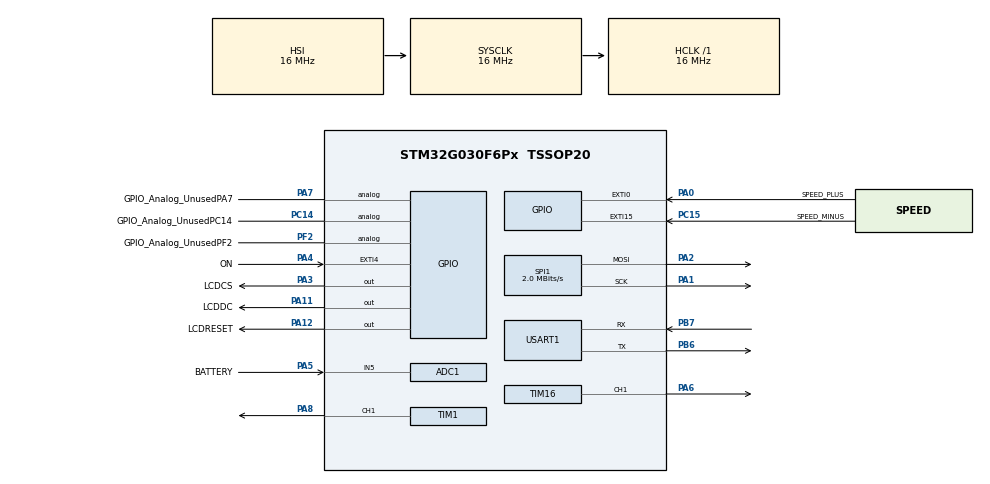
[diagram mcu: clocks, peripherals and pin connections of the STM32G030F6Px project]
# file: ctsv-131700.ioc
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ADC1.Channel-0\#ChannelRegularConversion=ADC_CHANNEL_5
ADC1.NbrOfConversionFlag=1
ADC1.Rank-0\#ChannelRegularConversion=1
ADC1.SamplingTime-0\#ChannelRegularConversion=ADC_SAMPLINGTIME_COMMON_1
ADC1.master=1
Mcu.Family=STM32G0
Mcu.Name=STM32G030F6Px
Mcu.Package=TSSOP20
NVIC.EXTI0_1_IRQn=true\:0\:0\:false\:false\:true\:true\:true
NVIC.EXTI4_15_IRQn=true\:0\:0\:false\:false\:true\:true\:true
NVIC.TIM14_IRQn=true\:0\:0\:false\:false\:true\:true\:true
NVIC.TIM17_IRQn=true\:0\:0\:false\:false\:true\:true\:true
PA0.GPIO_Label=SPEED_PLUS
PA0.GPIO_ModeDefaultEXTI=GPIO_MODE_IT_RISING_FALLING
PA0.GPIO_PuPd=GPIO_PULLUP
PA0.Signal=GPXTI0
PA1.Mode=TX_Only_Simplex_Unidirect_Master
PA1.Signal=SPI1_SCK
PA11\ [PA9].GPIO_Label=LCDDC
PA11\ [PA9].Signal=GPIO_Output
PA12\ [PA10].GPIO_Label=LCDRESET
PA12\ [PA10].Signal=GPIO_Output
PA13.Mode=Serial_Wire
PA13.Signal=SYS_SWDIO
PA14-BOOT0.Mode=Serial_Wire
PA14-BOOT0.Signal=SYS_SWCLK
PA2.Mode=TX_Only_Simplex_Unidirect_Master
PA2.Signal=SPI1_MOSI
PA3.GPIO_Label=LCDCS
PA3.Signal=GPIO_Output
PA4.GPIO_Label=ON
PA4.GPIO_ModeDefaultEXTI=GPIO_MODE_IT_RISING_FALLING
PA4.GPIO_PuPd=GPIO_PULLUP
PA4.Signal=GPXTI4
PA5.GPIO_Label=BATTERY
PA5.Mode=IN5
PA5.Signal=ADC1_IN5
PA6.Signal=S_TIM16_CH1
PA7.GPIO_Label=GPIO_Analog_UnusedPA7
PA7.Signal=GPIO_Analog
PA8.Signal=S_TIM1_CH1
PB6.Mode=Asynchronous
PB6.Signal=USART1_TX
PB7.Mode=Asynchronous
PB7.Signal=USART1_RX
PC14-OSC32_IN\ (PC14).GPIO_Label=GPIO_Analog_UnusedPC14
PC14-OSC32_IN\ (PC14).Signal=GPIO_Analog
PC15-OSC32_OUT\ (PC15).GPIO_Label=SPEED_MINUS
PC15-OSC32_OUT\ (PC15).GPIO_ModeDefaultEXTI=GPIO_MODE_IT_RISING_FALLING
PC15-OSC32_OUT\ (PC15).GPIO_PuPd=GPIO_PULLUP
PC15-OSC32_OUT\ (PC15).Signal=GPXTI15
PF2\ -\ NRST.GPIO_Label=GPIO_Analog_UnusedPF2
PF2\ -\ NRST.Signal=GPIO_Analog
ProjectManager.HeapSize=0x200
ProjectManager.StackSize=0x400
ProjectManager.TargetToolchain=STM32CubeIDE
RCC.ADCFreq_Value=16000000
RCC.AHBFreq_Value=16000000
RCC.CortexFreq_Value=16000000
RCC.DATA_CACHE_ENABLE=0
RCC.EXTERNAL_CLOCK_VALUE=12288000
RCC.HCLKFreq_Value=16000000
RCC.HSE_VALUE=8000000
RCC.HSI_VALUE=16000000
RCC.LSE_VALUE=32768
RCC.SYSCLKFreq_VALUE=16000000
RCC.VCOOutputFreq_Value=128000000
RCC.VDD_VALUE=2.7
RTC.Hours=0
RTC.Minutes=0
RTC.Seconds=0
SH.S_TIM16_CH1.0=TIM16_CH1,PWM Generation1 CH1
SH.S_TIM1_CH1.0=TIM1_CH1,PWM Generation1 CH1
SPI1.BaudRatePrescaler=SPI_BAUDRATEPRESCALER_8
SPI1.CalculateBaudRate=2.0 MBits/s
SPI1.Direction=SPI_DIRECTION_2LINES
SPI1.Mode=SPI_MODE_MASTER
SPI1.VirtualType=VM_MASTER
TIM1.Channel-PWM\ Generation1\ CH1=TIM_CHANNEL_1
TIM1.CounterMode=TIM_COUNTERMODE_UP
TIM1.Period=1000
TIM1.Prescaler=32
TIM1.Pulse-PWM\ Generation1\ CH1=5000
TIM14.Period=1000
TIM14.Prescaler=16000
TIM16.Channel=TIM_CHANNEL_1
TIM16.Period=1000
TIM16.Prescaler=16
TIM16.Pulse=500
TIM17.Period=2000
TIM17.Prescaler=80
USART1.VirtualMode-Asynchronous=VM_ASYNC
VP_ADC1_Vref_Input.Mode=IN-Vrefint
VP_RTC_VS_RTC_Activate.Mode=RTC_Enabled
VP_RTC_VS_RTC_Calendar.Mode=RTC_Calendar
VP_TIM14_VS_ClockSourceINT.Mode=Enable_Timer
VP_TIM16_VS_ClockSourceINT.Mode=Enable_Timer
VP_TIM17_VS_ClockSourceINT.Mode=Enable_Timer
board=custom

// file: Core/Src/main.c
/* USER CODE BEGIN Header */
/**
  ******************************************************************************
  * @file           : main.c
  * @brief          : Main program body
  ******************************************************************************
  * @attention
  *
  * <h2><center>&copy; Copyright (c) 2020 STMicroelectronics.
  * All rights reserved.</center></h2>
  *
  * This software component is licensed by ST under BSD 3-Clause license,
  * the "License"; You may not use this file except in compliance with the
  * License. You may obtain a copy of the License at:
  *                        opensource.org/licenses/BSD-3-Clause
  *
  ******************************************************************************
  */
/* USER CODE END Header */

#include "main.h"

/* USER CODE BEGIN Includes */
#include <stdio.h>
#include <stdint.h>
#include <stdbool.h>
/* USER CODE END Includes */

/* USER CODE BEGIN PD */
#define DEBOUNCE_TIME 10
#define REGISTER_WR_TIME 50
/* USER CODE END PD */

ADC_HandleTypeDef hadc1;

RTC_HandleTypeDef hrtc;

SPI_HandleTypeDef hspi1;

TIM_HandleTypeDef htim1;
TIM_HandleTypeDef htim14;
TIM_HandleTypeDef htim16;
TIM_HandleTypeDef htim17;

UART_HandleTypeDef huart1;

void SystemClock_Config(void);
static void MX_GPIO_Init(void);
static void MX_SPI1_Init(void);
static void MX_TIM16_Init(void);
static void MX_ADC1_Init(void);
static void MX_TIM1_Init(void);
static void MX_USART1_UART_Init(void);
static void MX_RTC_Init(void);
static void MX_TIM17_Init(void);
static void MX_TIM14_Init(void);
/* USER CODE BEGIN PFP */
void print_set_speed(void);
void set_duty_cyc(void);
void enter_stop_mode(void);
void run_status_deinit(void);
/* USER CODE END PFP */

/* USER CODE BEGIN 0 */
const uint16_t default_duty = 450;
uint16_t    current_duty = 0;

uint8_t     time_set = 30;
uint8_t     time_tmp = 0;
uint8_t     len = 0;

_Bool       mcu_stop_flag = false;
_Bool		spd_inc_flag = false;
_Bool		run_flag = false;

Video       lcd_wr_stct;
RTC_DateTypeDef sdatestructureget;
RTC_TimeTypeDef stimestructureget;

void print_set_speed(void)
{
	MX_RTC_Init();

	sprintf(lcd_wr_stct.line, "Set: %d\" ", time_set);
	lcd_wr_stct.xpos = (uint8_t)(ST7735_WIDTH-(strlen(lcd_wr_stct.line))*CHAR_W)/2;
	lcd_wr_stct.ypos = (uint8_t)(ST7735_HEIGHT-CHAR_H)/2;
	if (time_set == 90 && !HAL_GPIO_ReadPin(SPEED_MINUS_GPIO_Port, SPEED_MINUS_Pin))
		LcdClearScreen(&lcd_wr_stct);

	LcdWrite11x18(&lcd_wr_stct);
	HAL_Delay(250);
}

void enter_stop_mode(void)
{
	MX_RTC_Init();
	HAL_SuspendTick();
	HAL_PWR_EnterSTOPMode(PWR_LOWPOWERREGULATOR_ON, PWR_STOPENTRY_WFI);

	mcu_stop_flag = true;
}

void run_status_deinit(void)
{
	sprintf(lcd_wr_stct.line, "%d / %d\"", time_tmp, time_set);
	LcdWrite11x18(&lcd_wr_stct);
	run_flag = false;

	current_duty = 0;
	htim1.Instance->CCR1 = current_duty;
	HAL_Delay(REGISTER_WR_TIME);

	HAL_TIM_Base_Stop_IT(&htim14);
	HAL_TIM_Base_Stop_IT(&htim17);
	HAL_TIM_PWM_Stop(&htim1, TIM_CHANNEL_1);

	LcdInit();
	HAL_Delay(REGISTER_WR_TIME);
	print_set_speed();
}

void TIM17_ICBF(void)
{
	spd_inc_flag = true;
}

void TIM14_ICBF(void)
{
	sprintf(lcd_wr_stct.line, "%d / %d\"", time_tmp, time_set);
	lcd_wr_stct.xpos = (uint8_t)(ST7735_WIDTH-(strlen(lcd_wr_stct.line))*CHAR_W)/2;
	lcd_wr_stct.ypos = (uint8_t)(ST7735_HEIGHT-CHAR_H)/2;
	if (time_tmp == 99 || time_tmp == 9)
		LcdClearScreen(&lcd_wr_stct);
	LcdWrite11x18(&lcd_wr_stct);
	time_tmp--;
}
/*void RTC_AlarmA_ICBF(void)
{
	LcdWrite11x18(&lcd_wr_stct);
}*/

/* USER CODE END 0 */

int main(void)
{

  /* MCU Configuration--------------------------------------------------------*/

  /* Reset of all peripherals, Initializes the Flash interface and the Systick. */
  HAL_Init();

  /* Configure the system clock */
  SystemClock_Config();

  /* Initialize all configured peripherals */
  MX_GPIO_Init();
  MX_SPI1_Init();
  MX_TIM16_Init();
  MX_ADC1_Init();
  MX_TIM1_Init();
  MX_USART1_UART_Init();
  MX_RTC_Init();
  MX_TIM17_Init();
  MX_TIM14_Init();
  /* USER CODE BEGIN 2 */
  lcd_wr_stct.bkg_color = ST7735_BLACK;
  lcd_wr_stct.fore_color = ST7735_WHITE;

  LcdInit();

  htim1.Instance->CCR1 = 0;

  HAL_Delay(2000);
  LcdClearScreen(&lcd_wr_stct);
  print_set_speed();
  /* USER CODE END 2 */

  /* Infinite loop */
  /* USER CODE BEGIN WHILE */
  while (1)
  {
	  if (mcu_stop_flag)
	  {
		  mcu_stop_flag = false;
		  SystemClock_Config();
		  HAL_ResumeTick();
		  MX_RTC_Init();
	  }

	  if (!HAL_GPIO_ReadPin(SPEED_PLUS_GPIO_Port, SPEED_PLUS_Pin) ||
		  !HAL_GPIO_ReadPin(SPEED_MINUS_GPIO_Port, SPEED_MINUS_Pin))
	  {
		  HAL_Delay(DEBOUNCE_TIME);

		  if (run_flag)
		  {
			  MX_RTC_Init();
			  while (!HAL_GPIO_ReadPin(SPEED_PLUS_GPIO_Port, SPEED_PLUS_Pin) ||
					 !HAL_GPIO_ReadPin(SPEED_MINUS_GPIO_Port, SPEED_MINUS_Pin))
			  {
				  HAL_RTC_GetTime(&hrtc, &stimestructureget, RTC_FORMAT_BIN);
				  HAL_RTC_GetDate(&hrtc, &sdatestructureget, RTC_FORMAT_BIN);

				  if (stimestructureget.Seconds >= 2)
				  {
					  run_status_deinit();
					  break;
				  }
			  }
		  }

		  else
		  {
			  if (htim16.Instance->CCR1 == ZERO_BRIGHTNESS)
				  print_set_speed();
			  LcdSetBrightness(HALF_BRIGHTNESS);
			  while (!HAL_GPIO_ReadPin(SPEED_PLUS_GPIO_Port, SPEED_PLUS_Pin))
			  {
				  if (time_set < 180)
				  {
					  time_set += 10;
					  print_set_speed();
				  }
			  }

			  while (!HAL_GPIO_ReadPin(SPEED_MINUS_GPIO_Port, SPEED_MINUS_Pin))
			  {
				  if (time_set > 30)
				  {
					  time_set -= 10;
					  print_set_speed();
				  }
			  }
		  }
	  }

	  if (!HAL_GPIO_ReadPin(ON_GPIO_Port, ON_Pin) && !run_flag)
	  {
		  HAL_Delay(DEBOUNCE_TIME);
		  time_tmp = time_set;
		  LcdClearScreen(&lcd_wr_stct);

		  run_flag = true;
          LcdSetBrightness(HALF_BRIGHTNESS);
          HAL_Delay(REGISTER_WR_TIME);

          HAL_TIM_Base_Start_IT(&htim14);
          HAL_TIM_Base_Start_IT(&htim17);
          HAL_TIM_PWM_Start(&htim1, TIM_CHANNEL_1);
	  }

	  if (run_flag)
	  {
		  if (time_tmp <= 0)
		  {
			  HAL_Delay(500);
			  run_status_deinit();
		      MX_RTC_Init();
		  }

		  if (current_duty < default_duty && spd_inc_flag)
		  {
			  spd_inc_flag = false;
			  current_duty += 5;
		  }
		  htim1.Instance->CCR1 = current_duty;
	  }

	  HAL_RTC_GetTime(&hrtc, &stimestructureget, RTC_FORMAT_BIN);
	  HAL_RTC_GetDate(&hrtc, &sdatestructureget, RTC_FORMAT_BIN);

	  if (stimestructureget.Seconds >= 30 && !run_flag)
	  {
		  LcdSetBrightness(LOW_BRIGHTNESS);
	  }

	  if (stimestructureget.Seconds >= 120 && !run_flag)
	  {
		  LcdClearScreen(&lcd_wr_stct);
		  LcdSetBrightness(ZERO_BRIGHTNESS);
	  }

	  if (stimestructureget.Seconds >= 15 && !run_flag)
	  {
		  //enter_stop_mode();
		  __NOP();
	  }
    /* USER CODE END WHILE */

  }
}

void SystemClock_Config(void)
{
  RCC_OscInitTypeDef RCC_OscInitStruct = {0};
  RCC_ClkInitTypeDef RCC_ClkInitStruct = {0};
  RCC_PeriphCLKInitTypeDef PeriphClkInit = {0};

  /** Configure the main internal regulator output voltage
  */
  HAL_PWREx_ControlVoltageScaling(PWR_REGULATOR_VOLTAGE_SCALE1);
  /** Initializes the CPU, AHB and APB busses clocks
  */
  RCC_OscInitStruct.OscillatorType = RCC_OSCILLATORTYPE_HSI|RCC_OSCILLATORTYPE_LSI;
  RCC_OscInitStruct.HSIState = RCC_HSI_ON;
  RCC_OscInitStruct.HSIDiv = RCC_HSI_DIV1;
  RCC_OscInitStruct.HSICalibrationValue = RCC_HSICALIBRATION_DEFAULT;
  RCC_OscInitStruct.LSIState = RCC_LSI_ON;
  RCC_OscInitStruct.PLL.PLLState = RCC_PLL_NONE;
  if (HAL_RCC_OscConfig(&RCC_OscInitStruct) != HAL_OK)
  {
    Error_Handler();
  }
  /** Initializes the CPU, AHB and APB busses clocks
  */
  RCC_ClkInitStruct.ClockType = RCC_CLOCKTYPE_HCLK|RCC_CLOCKTYPE_SYSCLK
                              |RCC_CLOCKTYPE_PCLK1;
  RCC_ClkInitStruct.SYSCLKSource = RCC_SYSCLKSOURCE_HSI;
  RCC_ClkInitStruct.AHBCLKDivider = RCC_SYSCLK_DIV1;
  RCC_ClkInitStruct.APB1CLKDivider = RCC_HCLK_DIV1;

  if (HAL_RCC_ClockConfig(&RCC_ClkInitStruct, FLASH_LATENCY_0) != HAL_OK)
  {
    Error_Handler();
  }
  /** Initializes the peripherals clocks
  */
  PeriphClkInit.PeriphClockSelection = RCC_PERIPHCLK_RTC|RCC_PERIPHCLK_USART1
                              |RCC_PERIPHCLK_ADC;
  PeriphClkInit.Usart1ClockSelection = RCC_USART1CLKSOURCE_PCLK1;
  PeriphClkInit.AdcClockSelection = RCC_ADCCLKSOURCE_SYSCLK;
  PeriphClkInit.RTCClockSelection = RCC_RTCCLKSOURCE_LSI;

  if (HAL_RCCEx_PeriphCLKConfig(&PeriphClkInit) != HAL_OK)
  {
    Error_Handler();
  }
}

static void MX_ADC1_Init(void)
{

  ADC_ChannelConfTypeDef sConfig = {0};

  /** Configure the global features of the ADC (Clock, Resolution, Data Alignment and number of conversion)
  */
  hadc1.Instance = ADC1;
  hadc1.Init.ClockPrescaler = ADC_CLOCK_SYNC_PCLK_DIV2;
  hadc1.Init.Resolution = ADC_RESOLUTION_12B;
  hadc1.Init.DataAlign = ADC_DATAALIGN_RIGHT;
  hadc1.Init.ScanConvMode = ADC_SCAN_DISABLE;
  hadc1.Init.EOCSelection = ADC_EOC_SINGLE_CONV;
  hadc1.Init.LowPowerAutoWait = DISABLE;
  hadc1.Init.LowPowerAutoPowerOff = DISABLE;
  hadc1.Init.ContinuousConvMode = DISABLE;
  hadc1.Init.NbrOfConversion = 1;
  hadc1.Init.DiscontinuousConvMode = DISABLE;
  hadc1.Init.ExternalTrigConv = ADC_SOFTWARE_START;
  hadc1.Init.ExternalTrigConvEdge = ADC_EXTERNALTRIGCONVEDGE_NONE;
  hadc1.Init.DMAContinuousRequests = DISABLE;
  hadc1.Init.Overrun = ADC_OVR_DATA_PRESERVED;
  hadc1.Init.SamplingTimeCommon1 = ADC_SAMPLETIME_1CYCLE_5;
  hadc1.Init.SamplingTimeCommon2 = ADC_SAMPLETIME_1CYCLE_5;
  hadc1.Init.OversamplingMode = DISABLE;
  hadc1.Init.TriggerFrequencyMode = ADC_TRIGGER_FREQ_HIGH;
  if (HAL_ADC_Init(&hadc1) != HAL_OK)
  {
    Error_Handler();
  }
  /** Configure Regular Channel
  */
  sConfig.Channel = ADC_CHANNEL_5;
  sConfig.Rank = ADC_REGULAR_RANK_1;
  sConfig.SamplingTime = ADC_SAMPLINGTIME_COMMON_1;
  if (HAL_ADC_ConfigChannel(&hadc1, &sConfig) != HAL_OK)
  {
    Error_Handler();
  }

}

static void MX_RTC_Init(void)
{

  RTC_TimeTypeDef sTime = {0};
  RTC_DateTypeDef sDate = {0};

  /** Initialize RTC Only
  */
  hrtc.Instance = RTC;
  hrtc.Init.HourFormat = RTC_HOURFORMAT_24;
  hrtc.Init.AsynchPrediv = 127;
  hrtc.Init.SynchPrediv = 255;
  hrtc.Init.OutPut = RTC_OUTPUT_DISABLE;
  hrtc.Init.OutPutRemap = RTC_OUTPUT_REMAP_NONE;
  hrtc.Init.OutPutPolarity = RTC_OUTPUT_POLARITY_HIGH;
  hrtc.Init.OutPutType = RTC_OUTPUT_TYPE_OPENDRAIN;
  hrtc.Init.OutPutPullUp = RTC_OUTPUT_PULLUP_NONE;
  if (HAL_RTC_Init(&hrtc) != HAL_OK)
  {
    Error_Handler();
  }

  /** Initialize RTC and set the Time and Date
  */
  sTime.Hours = 0x0;
  sTime.Minutes = 0x0;
  sTime.Seconds = 0x0;
  sTime.SubSeconds = 0x0;
  sTime.DayLightSaving = RTC_DAYLIGHTSAVING_NONE;
  sTime.StoreOperation = RTC_STOREOPERATION_RESET;
  if (HAL_RTC_SetTime(&hrtc, &sTime, RTC_FORMAT_BCD) != HAL_OK)
  {
    Error_Handler();
  }
  sDate.WeekDay = RTC_WEEKDAY_MONDAY;
  sDate.Month = RTC_MONTH_JANUARY;
  sDate.Date = 0x1;
  sDate.Year = 0x0;

  if (HAL_RTC_SetDate(&hrtc, &sDate, RTC_FORMAT_BCD) != HAL_OK)
  {
    Error_Handler();
  }

}

static void MX_SPI1_Init(void)
{

  /* SPI1 parameter configuration*/
  hspi1.Instance = SPI1;
  hspi1.Init.Mode = SPI_MODE_MASTER;
  hspi1.Init.Direction = SPI_DIRECTION_2LINES;
  hspi1.Init.DataSize = SPI_DATASIZE_8BIT;
  hspi1.Init.CLKPolarity = SPI_POLARITY_LOW;
  hspi1.Init.CLKPhase = SPI_PHASE_1EDGE;
  hspi1.Init.NSS = SPI_NSS_SOFT;
  hspi1.Init.BaudRatePrescaler = SPI_BAUDRATEPRESCALER_8;
  hspi1.Init.FirstBit = SPI_FIRSTBIT_MSB;
  hspi1.Init.TIMode = SPI_TIMODE_DISABLE;
  hspi1.Init.CRCCalculation = SPI_CRCCALCULATION_DISABLE;
  hspi1.Init.CRCPolynomial = 7;
  hspi1.Init.CRCLength = SPI_CRC_LENGTH_DATASIZE;
  hspi1.Init.NSSPMode = SPI_NSS_PULSE_ENABLE;
  if (HAL_SPI_Init(&hspi1) != HAL_OK)
  {
    Error_Handler();
  }

}

static void MX_TIM1_Init(void)
{

  TIM_MasterConfigTypeDef sMasterConfig = {0};
  TIM_OC_InitTypeDef sConfigOC = {0};
  TIM_BreakDeadTimeConfigTypeDef sBreakDeadTimeConfig = {0};

  htim1.Instance = TIM1;
  htim1.Init.Prescaler = 32;
  htim1.Init.CounterMode = TIM_COUNTERMODE_UP;
  htim1.Init.Period = 1000;
  htim1.Init.ClockDivision = TIM_CLOCKDIVISION_DIV1;
  htim1.Init.RepetitionCounter = 0;
  htim1.Init.AutoReloadPreload = TIM_AUTORELOAD_PRELOAD_DISABLE;
  if (HAL_TIM_PWM_Init(&htim1) != HAL_OK)
  {
    Error_Handler();
  }
  sMasterConfig.MasterOutputTrigger = TIM_TRGO_RESET;
  sMasterConfig.MasterOutputTrigger2 = TIM_TRGO2_RESET;
  sMasterConfig.MasterSlaveMode = TIM_MASTERSLAVEMODE_DISABLE;
  if (HAL_TIMEx_MasterConfigSynchronization(&htim1, &sMasterConfig) != HAL_OK)
  {
    Error_Handler();
  }
  sConfigOC.OCMode = TIM_OCMODE_PWM1;
  sConfigOC.Pulse = 5000;
  sConfigOC.OCPolarity = TIM_OCPOLARITY_HIGH;
  sConfigOC.OCNPolarity = TIM_OCNPOLARITY_HIGH;
  sConfigOC.OCFastMode = TIM_OCFAST_DISABLE;
  sConfigOC.OCIdleState = TIM_OCIDLESTATE_RESET;
  sConfigOC.OCNIdleState = TIM_OCNIDLESTATE_RESET;
  if (HAL_TIM_PWM_ConfigChannel(&htim1, &sConfigOC, TIM_CHANNEL_1) != HAL_OK)
  {
    Error_Handler();
  }
  sBreakDeadTimeConfig.OffStateRunMode = TIM_OSSR_DISABLE;
  sBreakDeadTimeConfig.OffStateIDLEMode = TIM_OSSI_DISABLE;
  sBreakDeadTimeConfig.LockLevel = TIM_LOCKLEVEL_OFF;
  sBreakDeadTimeConfig.DeadTime = 0;
  sBreakDeadTimeConfig.BreakState = TIM_BREAK_DISABLE;
  sBreakDeadTimeConfig.BreakPolarity = TIM_BREAKPOLARITY_HIGH;
  sBreakDeadTimeConfig.BreakFilter = 0;
  sBreakDeadTimeConfig.BreakAFMode = TIM_BREAK_AFMODE_INPUT;
  sBreakDeadTimeConfig.Break2State = TIM_BREAK2_DISABLE;
  sBreakDeadTimeConfig.Break2Polarity = TIM_BREAK2POLARITY_HIGH;
  sBreakDeadTimeConfig.Break2Filter = 0;
  sBreakDeadTimeConfig.Break2AFMode = TIM_BREAK_AFMODE_INPUT;
  sBreakDeadTimeConfig.AutomaticOutput = TIM_AUTOMATICOUTPUT_DISABLE;
  if (HAL_TIMEx_ConfigBreakDeadTime(&htim1, &sBreakDeadTimeConfig) != HAL_OK)
  {
    Error_Handler();
  }
  HAL_TIM_MspPostInit(&htim1);

}

static void MX_TIM14_Init(void)
{

  htim14.Instance = TIM14;
  htim14.Init.Prescaler = 16000;
  htim14.Init.CounterMode = TIM_COUNTERMODE_UP;
  htim14.Init.Period = 1000;
  htim14.Init.ClockDivision = TIM_CLOCKDIVISION_DIV1;
  htim14.Init.AutoReloadPreload = TIM_AUTORELOAD_PRELOAD_DISABLE;
  if (HAL_TIM_Base_Init(&htim14) != HAL_OK)
  {
    Error_Handler();
  }

}

static void MX_TIM16_Init(void)
{

  TIM_OC_InitTypeDef sConfigOC = {0};
  TIM_BreakDeadTimeConfigTypeDef sBreakDeadTimeConfig = {0};

  htim16.Instance = TIM16;
  htim16.Init.Prescaler = 16;
  htim16.Init.CounterMode = TIM_COUNTERMODE_UP;
  htim16.Init.Period = 1000;
  htim16.Init.ClockDivision = TIM_CLOCKDIVISION_DIV1;
  htim16.Init.RepetitionCounter = 0;
  htim16.Init.AutoReloadPreload = TIM_AUTORELOAD_PRELOAD_DISABLE;
  if (HAL_TIM_Base_Init(&htim16) != HAL_OK)
  {
    Error_Handler();
  }
  if (HAL_TIM_PWM_Init(&htim16) != HAL_OK)
  {
    Error_Handler();
  }
  sConfigOC.OCMode = TIM_OCMODE_PWM1;
  sConfigOC.Pulse = 500;
  sConfigOC.OCPolarity = TIM_OCPOLARITY_HIGH;
  sConfigOC.OCNPolarity = TIM_OCNPOLARITY_HIGH;
  sConfigOC.OCFastMode = TIM_OCFAST_DISABLE;
  sConfigOC.OCIdleState = TIM_OCIDLESTATE_RESET;
  sConfigOC.OCNIdleState = TIM_OCNIDLESTATE_RESET;
  if (HAL_TIM_PWM_ConfigChannel(&htim16, &sConfigOC, TIM_CHANNEL_1) != HAL_OK)
  {
    Error_Handler();
  }
  sBreakDeadTimeConfig.OffStateRunMode = TIM_OSSR_DISABLE;
  sBreakDeadTimeConfig.OffStateIDLEMode = TIM_OSSI_DISABLE;
  sBreakDeadTimeConfig.LockLevel = TIM_LOCKLEVEL_OFF;
  sBreakDeadTimeConfig.DeadTime = 0;
  sBreakDeadTimeConfig.BreakState = TIM_BREAK_DISABLE;
  sBreakDeadTimeConfig.BreakPolarity = TIM_BREAKPOLARITY_HIGH;
  sBreakDeadTimeConfig.BreakFilter = 0;
  sBreakDeadTimeConfig.AutomaticOutput = TIM_AUTOMATICOUTPUT_DISABLE;
  if (HAL_TIMEx_ConfigBreakDeadTime(&htim16, &sBreakDeadTimeConfig) != HAL_OK)
  {
    Error_Handler();
  }
  HAL_TIM_MspPostInit(&htim16);

}

static void MX_TIM17_Init(void)
{

  htim17.Instance = TIM17;
  htim17.Init.Prescaler = 80;
  htim17.Init.CounterMode = TIM_COUNTERMODE_UP;
  htim17.Init.Period = 2000;
  htim17.Init.ClockDivision = TIM_CLOCKDIVISION_DIV1;
  htim17.Init.RepetitionCounter = 0;
  htim17.Init.AutoReloadPreload = TIM_AUTORELOAD_PRELOAD_DISABLE;
  if (HAL_TIM_Base_Init(&htim17) != HAL_OK)
  {
    Error_Handler();
  }

}

static void MX_USART1_UART_Init(void)
{

  huart1.Instance = USART1;
  huart1.Init.BaudRate = 115200;
  huart1.Init.WordLength = UART_WORDLENGTH_8B;
  huart1.Init.StopBits = UART_STOPBITS_1;
  huart1.Init.Parity = UART_PARITY_NONE;
  huart1.Init.Mode = UART_MODE_TX_RX;
  huart1.Init.HwFlowCtl = UART_HWCONTROL_NONE;
  huart1.Init.OverSampling = UART_OVERSAMPLING_16;
  huart1.Init.OneBitSampling = UART_ONE_BIT_SAMPLE_DISABLE;
  huart1.Init.ClockPrescaler = UART_PRESCALER_DIV1;
  huart1.AdvancedInit.AdvFeatureInit = UART_ADVFEATURE_NO_INIT;
  if (HAL_UART_Init(&huart1) != HAL_OK)
  {
    Error_Handler();
  }
  if (HAL_UARTEx_SetTxFifoThreshold(&huart1, UART_TXFIFO_THRESHOLD_1_8) != HAL_OK)
  {
    Error_Handler();
  }
  if (HAL_UARTEx_SetRxFifoThreshold(&huart1, UART_RXFIFO_THRESHOLD_1_8) != HAL_OK)
  {
    Error_Handler();
  }
  if (HAL_UARTEx_DisableFifoMode(&huart1) != HAL_OK)
  {
    Error_Handler();
  }

}

static void MX_GPIO_Init(void)
{
  GPIO_InitTypeDef GPIO_InitStruct = {0};

  /* GPIO Ports Clock Enable */
  __HAL_RCC_GPIOB_CLK_ENABLE();
  __HAL_RCC_GPIOC_CLK_ENABLE();
  __HAL_RCC_GPIOF_CLK_ENABLE();
  __HAL_RCC_GPIOA_CLK_ENABLE();

  /*Configure GPIO pin Output Level */
  HAL_GPIO_WritePin(GPIOA, LCDCS_Pin|LCDDC_Pin|LCDRESET_Pin, GPIO_PIN_RESET);

  /*Configure GPIO pin : GPIO_Analog_UnusedPC14_Pin */
  GPIO_InitStruct.Pin = GPIO_Analog_UnusedPC14_Pin;
  GPIO_InitStruct.Mode = GPIO_MODE_ANALOG;
  GPIO_InitStruct.Pull = GPIO_NOPULL;
  HAL_GPIO_Init(GPIO_Analog_UnusedPC14_GPIO_Port, &GPIO_InitStruct);

  /*Configure GPIO pin : SPEED_MINUS_Pin */
  GPIO_InitStruct.Pin = SPEED_MINUS_Pin;
  GPIO_InitStruct.Mode = GPIO_MODE_IT_RISING_FALLING;
  GPIO_InitStruct.Pull = GPIO_PULLUP;
  HAL_GPIO_Init(SPEED_MINUS_GPIO_Port, &GPIO_InitStruct);

  /*Configure GPIO pin : GPIO_Analog_UnusedPF2_Pin */
  GPIO_InitStruct.Pin = GPIO_Analog_UnusedPF2_Pin;
  GPIO_InitStruct.Mode = GPIO_MODE_ANALOG;
  GPIO_InitStruct.Pull = GPIO_NOPULL;
  HAL_GPIO_Init(GPIO_Analog_UnusedPF2_GPIO_Port, &GPIO_InitStruct);

  /*Configure GPIO pins : SPEED_PLUS_Pin ON_Pin */
  GPIO_InitStruct.Pin = SPEED_PLUS_Pin|ON_Pin;
  GPIO_InitStruct.Mode = GPIO_MODE_IT_RISING_FALLING;
  GPIO_InitStruct.Pull = GPIO_PULLUP;
  HAL_GPIO_Init(GPIOA, &GPIO_InitStruct);

  /*Configure GPIO pins : LCDCS_Pin LCDDC_Pin LCDRESET_Pin */
  GPIO_InitStruct.Pin = LCDCS_Pin|LCDDC_Pin|LCDRESET_Pin;
  GPIO_InitStruct.Mode = GPIO_MODE_OUTPUT_PP;
  GPIO_InitStruct.Pull = GPIO_NOPULL;
  GPIO_InitStruct.Speed = GPIO_SPEED_FREQ_LOW;
  HAL_GPIO_Init(GPIOA, &GPIO_InitStruct);

  /*Configure GPIO pin : GPIO_Analog_UnusedPA7_Pin */
  GPIO_InitStruct.Pin = GPIO_Analog_UnusedPA7_Pin;
  GPIO_InitStruct.Mode = GPIO_MODE_ANALOG;
  GPIO_InitStruct.Pull = GPIO_NOPULL;
  HAL_GPIO_Init(GPIO_Analog_UnusedPA7_GPIO_Port, &GPIO_InitStruct);

  /* EXTI interrupt init*/
  HAL_NVIC_SetPriority(EXTI0_1_IRQn, 0, 0);
  HAL_NVIC_EnableIRQ(EXTI0_1_IRQn);

  HAL_NVIC_SetPriority(EXTI4_15_IRQn, 0, 0);
  HAL_NVIC_EnableIRQ(EXTI4_15_IRQn);

}

void Error_Handler(void)
{
}

/************************ (C) COPYRIGHT STMicroelectronics *****END OF FILE****/
